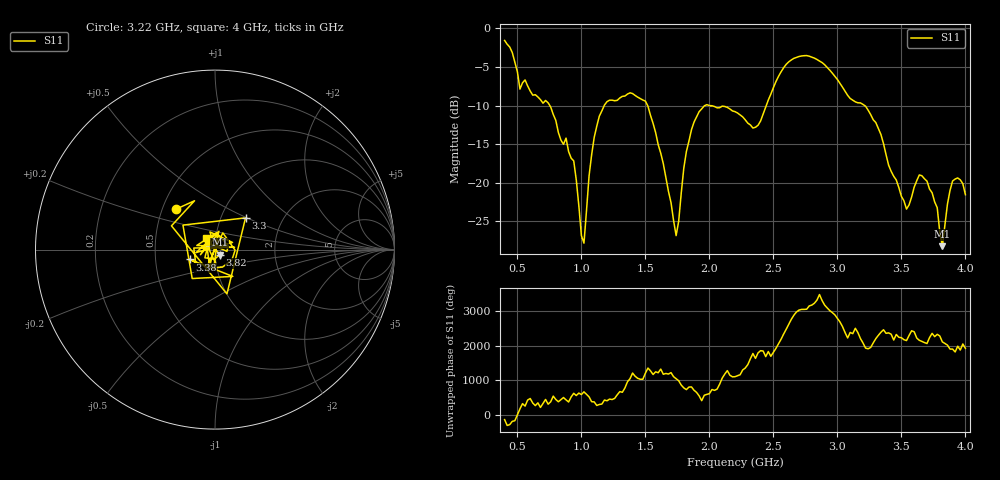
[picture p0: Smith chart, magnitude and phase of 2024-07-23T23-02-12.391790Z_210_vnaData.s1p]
!Created with skrf (http://scikit-rf.org).
# Hz S RI R 50.0
!freq ReS11 ImS11
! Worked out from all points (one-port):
!   181 points, 400 MHz to 4 GHz, reference 50 ohm
!   lowest |S11| = -28.2 dB at 3.82 GHz (marker M1), VSWR 1.08, Z = 52.6 - j3.01 ohm
!   |S11| at or under -10 dB: 1.517 GHz to 1.965 GHz (447.9 MHz wide, 25.7 % of centre); 1.999 GHz to 2.444 GHz (444.5 MHz wide, 20 % of centre); 3.213 GHz to end of sweep (the widest 3 of 4)
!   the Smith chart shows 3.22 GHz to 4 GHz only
!   S11 on the Smith chart (normalised r, x): 3.22 GHz: 0.59, +0.29; 3.3 GHz: 1.31, +0.49; 3.38 GHz: 0.75, -0.08; 3.82 GHz: 1.05, -0.06; 4 GHz: 0.90, +0.12
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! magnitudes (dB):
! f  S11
! 400 MHz  -1.6
! 520 MHz  -7.9
! 740 MHz  -9.7
! 860 MHz  -15.0
! 940 MHz  -17.2
! 1.02 GHz  -27.9
! 1.06 GHz  -19.1
! 1.12 GHz  -12.7
! 1.3 GHz  -9.0
! 1.52 GHz  -10.1
! 1.74 GHz  -26.9
! 1.76 GHz  -25.0
! 1.82 GHz  -16.0
! 1.92 GHz  -10.8
! 2.2 GHz  -10.8
! 2.38 GHz  -12.6
! 2.66 GHz  -3.9
! 3.1 GHz  -9.1
! 3.22 GHz  -10.1
! 3.3 GHz  -12.2
! 3.38 GHz  -16.4
! 3.56 GHz  -22.9
! 3.64 GHz  -19.0
! 3.7 GHz  -19.8
! 3.78 GHz  -23.3
! 3.82 GHz  -28.2
! 3.9 GHz  -19.8
! 4 GHz  -21.6
